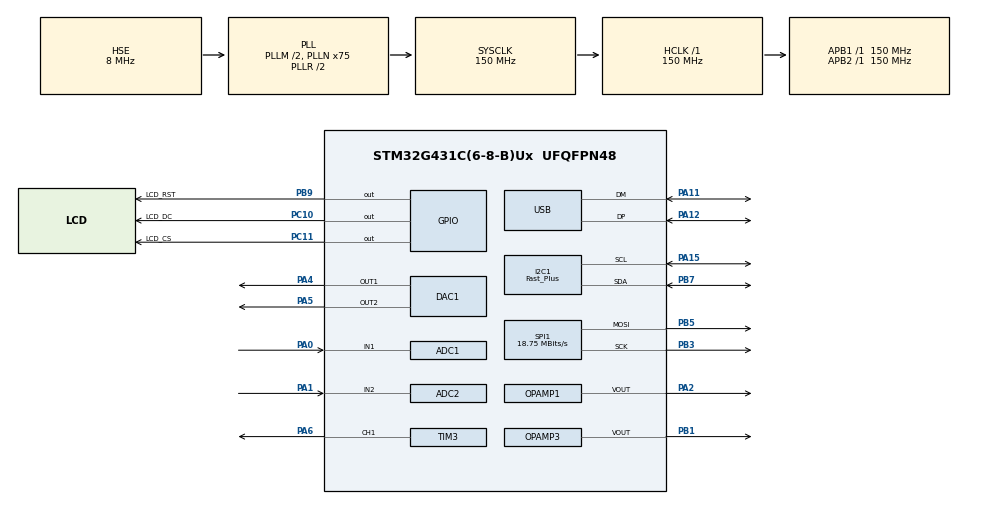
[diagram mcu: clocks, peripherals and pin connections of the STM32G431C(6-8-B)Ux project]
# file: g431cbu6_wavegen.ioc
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ADC1.Channel-0\#ChannelRegularConversion=ADC_CHANNEL_1
ADC1.NbrOfConversionFlag=1
ADC1.OffsetNumber-0\#ChannelRegularConversion=ADC_OFFSET_NONE
ADC1.Rank-0\#ChannelRegularConversion=1
ADC1.SamplingTime-0\#ChannelRegularConversion=ADC_SAMPLETIME_2CYCLES_5
ADC1.master=1
ADC2.Channel-0\#ChannelRegularConversion=ADC_CHANNEL_2
ADC2.NbrOfConversionFlag=1
ADC2.OffsetNumber-0\#ChannelRegularConversion=ADC_OFFSET_NONE
ADC2.Rank-0\#ChannelRegularConversion=1
ADC2.SamplingTime-0\#ChannelRegularConversion=ADC_SAMPLETIME_2CYCLES_5
DAC1.DAC_Channel-DAC_OUT2=DAC_CHANNEL_2
DAC3.DAC_Channel-DAC_OUT2_Int=DAC_CHANNEL_2
DAC3.DAC_Trigger_OUT1-DAC_OUT1_Int=DAC_TRIGGER_T6_TRGO
DAC3.DAC_Trigger_OUT2-DAC_OUT2_Int=DAC_TRIGGER_T7_TRGO
Dma.DAC3_CH1.0.Direction=DMA_MEMORY_TO_PERIPH
Dma.DAC3_CH1.0.EventEnable=DISABLE
Dma.DAC3_CH1.0.Instance=DMA1_Channel1
Dma.DAC3_CH1.0.MemDataAlignment=DMA_MDATAALIGN_HALFWORD
Dma.DAC3_CH1.0.MemInc=DMA_MINC_ENABLE
Dma.DAC3_CH1.0.Mode=DMA_CIRCULAR
Dma.DAC3_CH1.0.PeriphDataAlignment=DMA_PDATAALIGN_WORD
Dma.DAC3_CH1.0.PeriphInc=DMA_PINC_DISABLE
Dma.DAC3_CH1.0.Polarity=HAL_DMAMUX_REQ_GEN_RISING
Dma.DAC3_CH1.0.Priority=DMA_PRIORITY_LOW
Dma.DAC3_CH1.0.RequestNumber=1
Dma.DAC3_CH1.0.SignalID=NONE
Dma.DAC3_CH1.0.SyncEnable=DISABLE
Dma.DAC3_CH1.0.SyncPolarity=HAL_DMAMUX_SYNC_NO_EVENT
Dma.DAC3_CH1.0.SyncRequestNumber=1
Dma.DAC3_CH1.0.SyncSignalID=NONE
Dma.DAC3_CH2.1.Direction=DMA_MEMORY_TO_PERIPH
Dma.DAC3_CH2.1.EventEnable=DISABLE
Dma.DAC3_CH2.1.Instance=DMA1_Channel2
Dma.DAC3_CH2.1.MemDataAlignment=DMA_MDATAALIGN_HALFWORD
Dma.DAC3_CH2.1.MemInc=DMA_MINC_ENABLE
Dma.DAC3_CH2.1.Mode=DMA_CIRCULAR
Dma.DAC3_CH2.1.PeriphDataAlignment=DMA_PDATAALIGN_WORD
Dma.DAC3_CH2.1.PeriphInc=DMA_PINC_DISABLE
Dma.DAC3_CH2.1.Polarity=HAL_DMAMUX_REQ_GEN_RISING
Dma.DAC3_CH2.1.Priority=DMA_PRIORITY_LOW
Dma.DAC3_CH2.1.RequestNumber=1
Dma.DAC3_CH2.1.SignalID=NONE
Dma.DAC3_CH2.1.SyncEnable=DISABLE
Dma.DAC3_CH2.1.SyncPolarity=HAL_DMAMUX_SYNC_NO_EVENT
Dma.DAC3_CH2.1.SyncRequestNumber=1
Dma.DAC3_CH2.1.SyncSignalID=NONE
Dma.Request0=DAC3_CH1
Dma.Request1=DAC3_CH2
Dma.Request2=SPI1_TX
Dma.SPI1_TX.2.Direction=DMA_MEMORY_TO_PERIPH
Dma.SPI1_TX.2.EventEnable=DISABLE
Dma.SPI1_TX.2.Instance=DMA1_Channel3
Dma.SPI1_TX.2.MemDataAlignment=DMA_MDATAALIGN_BYTE
Dma.SPI1_TX.2.MemInc=DMA_MINC_ENABLE
Dma.SPI1_TX.2.Mode=DMA_NORMAL
Dma.SPI1_TX.2.PeriphDataAlignment=DMA_PDATAALIGN_BYTE
Dma.SPI1_TX.2.PeriphInc=DMA_PINC_DISABLE
Dma.SPI1_TX.2.Polarity=HAL_DMAMUX_REQ_GEN_RISING
Dma.SPI1_TX.2.Priority=DMA_PRIORITY_LOW
Dma.SPI1_TX.2.RequestNumber=1
Dma.SPI1_TX.2.SignalID=NONE
Dma.SPI1_TX.2.SyncEnable=DISABLE
Dma.SPI1_TX.2.SyncPolarity=HAL_DMAMUX_SYNC_NO_EVENT
Dma.SPI1_TX.2.SyncRequestNumber=1
Dma.SPI1_TX.2.SyncSignalID=NONE
I2C1.I2C_Speed_Mode=I2C_Fast_Plus
I2C1.Timing=0x10B30E23
Mcu.Family=STM32G4
Mcu.Name=STM32G431C(6-8-B)Ux
Mcu.Package=UFQFPN48
NVIC.DMA1_Channel1_IRQn=true\:0\:0\:false\:false\:true\:false\:true\:true
NVIC.DMA1_Channel2_IRQn=true\:0\:0\:false\:false\:true\:false\:true\:true
NVIC.DMA1_Channel3_IRQn=true\:0\:0\:false\:false\:true\:false\:true\:true
NVIC.PriorityGroup=NVIC_PRIORITYGROUP_4
NVIC.USB_LP_IRQn=true\:0\:0\:false\:false\:true\:false\:true\:true
OPAMP1.PowerMode=OPAMP_POWERMODE_HIGHSPEED
OPAMP3.PowerMode=OPAMP_POWERMODE_HIGHSPEED
PA0.Mode=IN1-Single-Ended
PA0.Signal=ADC1_IN1
PA1.Mode=IN2-Single-Ended
PA1.Signal=ADC2_IN2
PA11.Mode=Device
PA11.Signal=USB_DM
PA12.Mode=Device
PA12.Signal=USB_DP
PA13.Mode=Serial_Wire
PA13.Signal=SYS_JTMS-SWDIO
PA14.Mode=Serial_Wire
PA14.Signal=SYS_JTCK-SWCLK
PA15.GPIO_Pu=GPIO_PULLUP
PA15.GPIO_Speed=GPIO_SPEED_FREQ_VERY_HIGH
PA15.Mode=I2C
PA15.Signal=I2C1_SCL
PA2.Mode=Follower-DAC_OUT2-INP
PA2.Signal=OPAMP1_VOUT
PA4.Signal=COMP_DAC11_group
PA5.Signal=COMP_DAC12_group
PA6.GPIO_Speed=GPIO_SPEED_FREQ_VERY_HIGH
PA6.Signal=S_TIM3_CH1
PB1.Mode=Follower-DAC_OUT2-INP
PB1.Signal=OPAMP3_VOUT
PB3.GPIO_PuPd=GPIO_PULLUP
PB3.GPIO_Speed=GPIO_SPEED_FREQ_VERY_HIGH
PB3.Mode=TX_Only_Simplex_Unidirect_Master
PB3.Signal=SPI1_SCK
PB5.GPIO_PuPd=GPIO_PULLUP
PB5.GPIO_Speed=GPIO_SPEED_FREQ_VERY_HIGH
PB5.Mode=TX_Only_Simplex_Unidirect_Master
PB5.Signal=SPI1_MOSI
PB7.GPIO_Pu=GPIO_PULLUP
PB7.GPIO_Speed=GPIO_SPEED_FREQ_VERY_HIGH
PB7.Mode=I2C
PB7.Signal=I2C1_SDA
PB9.GPIO_FM9=SYSCFG_FASTMODEPLUS_PB9
PB9.GPIO_Label=LCD_RST
PB9.GPIO_PuPd=GPIO_PULLUP
PB9.GPIO_Speed=GPIO_SPEED_FREQ_VERY_HIGH
PB9.Signal=GPIO_Output
PC10.GPIO_Label=LCD_DC
PC10.GPIO_PuPd=GPIO_PULLUP
PC10.GPIO_Speed=GPIO_SPEED_FREQ_VERY_HIGH
PC10.Signal=GPIO_Output
PC11.GPIO_Label=LCD_CS
PC11.GPIO_PuPd=GPIO_PULLUP
PC11.GPIO_Speed=GPIO_SPEED_FREQ_VERY_HIGH
PC11.Signal=GPIO_Output
PF0-OSC_IN.Mode=HSE-External-Oscillator
PF0-OSC_IN.Signal=RCC_OSC_IN
PF1-OSC_OUT.Mode=HSE-External-Oscillator
PF1-OSC_OUT.Signal=RCC_OSC_OUT
ProjectManager.HeapSize=0x200
ProjectManager.StackSize=0x400
ProjectManager.TargetToolchain=CMake
RCC.ADC12Freq_Value=150000000
RCC.AHBFreq_Value=150000000
RCC.APB1Freq_Value=150000000
RCC.APB1TimFreq_Value=150000000
RCC.APB2Freq_Value=150000000
RCC.APB2TimFreq_Value=150000000
RCC.CK48CLockSelection=RCC_USBCLKSOURCE_HSI48
RCC.CortexFreq_Value=150000000
RCC.EXTERNAL_CLOCK_VALUE=12288000
RCC.HCLKFreq_Value=150000000
RCC.HSE_VALUE=8000000
RCC.HSI48_VALUE=48000000
RCC.HSI_VALUE=16000000
RCC.LSE_VALUE=32768
RCC.PLLM=RCC_PLLM_DIV2
RCC.PLLN=75
RCC.PLLQ=RCC_PLLQ_DIV6
RCC.PLLSourceVirtual=RCC_PLLSOURCE_HSE
RCC.SYSCLKFreq_VALUE=150000000
RCC.SYSCLKSource=RCC_SYSCLKSOURCE_PLLCLK
RCC.USBFreq_Value=48000000
RCC.VCOOutputFreq_Value=300000000
SH.COMP_DAC11_group.0=DAC1_OUT1,DAC_OUT1
SH.COMP_DAC12_group.0=DAC1_OUT2,DAC_OUT2
SH.S_TIM3_CH1.0=TIM3_CH1,PWM Generation1 CH1
SPI1.BaudRatePrescaler=SPI_BAUDRATEPRESCALER_8
SPI1.CalculateBaudRate=18.75 MBits/s
SPI1.DataSize=SPI_DATASIZE_8BIT
SPI1.Direction=SPI_DIRECTION_2LINES
SPI1.Mode=SPI_MODE_MASTER
SPI1.VirtualType=VM_MASTER
TIM3.Channel-PWM\ Generation1\ CH1=TIM_CHANNEL_1
TIM3.PeriodNoDither=period3
TIM3.Prescaler=prescaler3
TIM3.PulseNoDither_1=pulse3
TIM6.PeriodNoDither=period6
TIM6.Prescaler=prescaler6
TIM6.TIM_MasterOutputTrigger=TIM_TRGO_UPDATE
TIM7.PeriodNoDither=period7
TIM7.Prescaler=prescaler7
TIM7.TIM_MasterOutputTrigger=TIM_TRGO_UPDATE
USB_DEVICE.CLASS_NAME_FS=CDC
USB_DEVICE.VirtualMode=Cdc
USB_DEVICE.VirtualModeFS=Cdc_FS
VP_DAC3_VS_DACI1.Mode=DAC_OUT1_Int
VP_DAC3_VS_DACI2.Mode=DAC_OUT2_Int
VP_SYS_VS_DBSignals.Mode=DisableDeadBatterySignals
VP_TIM3_VS_ClockSourceINT.Mode=Internal
VP_TIM6_VS_ClockSourceINT.Mode=Enable_Timer
VP_TIM7_VS_ClockSourceINT.Mode=Enable_Timer
VP_USB_DEVICE_VS_USB_DEVICE_CDC_FS.Mode=CDC_FS
board=custom

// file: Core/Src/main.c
/* USER CODE BEGIN Header */
/**
  ******************************************************************************
  * @file           : main.c
  * @brief          : Main program body
  ******************************************************************************
  * @attention
  *
  * Copyright (c) 2026 STMicroelectronics.
  * All rights reserved.
  *
  * This software is licensed under terms that can be found in the LICENSE file
  * in the root directory of this software component.
  * If no LICENSE file comes with this software, it is provided AS-IS.
  *
  ******************************************************************************
  *
  * Copyright 2026 Ashok Singhal
  *
  * Create a DDS (Direct Digital Synthesis) system to generate waves on the 2
  * channels of a high speed DAC (DAC3) of an STM32G431CBU6 using circular DMA
  * from waveform data in memory driven by timers (6 and 7).
  * DAC3 is not connected directly to an output pin so both channels are
  * connected to OPAMPs in follower mode.
  * DAC3.channel1 -> OPAMP1 -> output pin PA2
  * DAC3.channel2 -> OPAMP3 -> output pin PB1
  *
  * Also create a programmable pulse generator using PWM using  timer TIM3
  * TIM3.pwm -> output pin PA6
  *
  * Use a ST7789-based LCD display on SPI1 to display the control information.
  * I adapt driver for this from https://github.com/Floyd-Fish/ST7789-STM32/tree/master/ST7789
  *
  * Use a seesaw device (derived from Adafruit's design) with 2 rotary encoders
  * with built-in switches and 4 pushbutton switches on I2C1 for the control input.
  *
  * The amplitudes of wave0 and wave1 are determined by MCP54HVX1 digital potentiometer
  * feedback resistor for the output opamp.
  * The offsets of wave0 and wave1 are determined by lower speed DAC1 outputs on
  * channels 1 and 2.
  *
  * The user interface:
  * ENC2: adjust frequency/wave type/amplitude/offset for the current wave
  * ENCSW2: select mode for the enc2
  * SW4: (currently unused)
  * SW3: Select the current wave (curwave)
  *
  * ENC1: adjust frequency and duty cycle for PWM
  * SW2: Set PWM changes XXX Currently unused
  * SW1: (currently unused)
  */
/* USER CODE END Header */
#include "main.h"
#include "adc.h"
#include "dac.h"
#include "dma.h"
#include "i2c.h"
#include "opamp.h"
#include "spi.h"
#include "tim.h"
#include "usb_device.h"
#include "gpio.h"

/* USER CODE BEGIN Includes */
#include <stdint.h>
#include <stdlib.h>
#include <stdarg.h>
#include <string.h>
#include <stdio.h>
#include <math.h>
#include <limits.h>
#include "gwave.h"
#include "st7789.h"
#include "seesaw.h"
#include "mcp45hvx1.h"
#include "usbd_cdc_if.h"
/* USER CODE END Includes */

/* USER CODE BEGIN PD */
#define SS_ENCSW1 13
#define SS_ENCSW2 16
#define SS_SW1 5
#define SS_SW2 4
#define SS_SW3 3
#define SS_SW4 0

#define MIN_PERIOD 5
#define MAX_PERIOD 65535
#define MAX_SAMPLES 500
#define MIN_SAMPLES 10
/* USER CODE END PD */

/* USER CODE BEGIN PV */

// DAC channels, used for DAC3 (wave output) as well as DAC1 (offsets)
uint32_t dac_chan[2] = {DAC_CHANNEL_1, DAC_CHANNEL_2};

// Timer 3, 6, 7 timing parameters
TIM_HandleTypeDef *htim[2] = {&htim6, &htim7}; // timers for the two channels

uint16_t prescaler3 = 1-1; // 150 Mhz from 150 Mhz clock
uint16_t period3 = 150-1; // 1 MHz from 150 MHz
uint16_t pulse3 = 75-1; // 50% duty cycle (75/150)

// prescaler6, prescaler7 are set to 1 (2-1) to give 75MHz from 150MHz
uint16_t prescaler6 = 2-1;
uint16_t prescaler7 = 2-1;

// If MIN_PERIOD is 4 (5-1) maximum sample clock is 75MHz/5 = 15MHz
// I have found that we get a lot of jitter at 15MHz sample clock, even though the
// spec says that 15MHz should be possible, so instead I use MIN_PERIOD of 5 (6-1)
// so the fastest sample clock is 75MHz/6 = 12.5MHz

// Set initial values of the period
uint16_t period6 = 14; // (15 - 1) 5 MHz from 75 MHz (10KHz with 500 samples)
uint16_t period7 = 74; // (75 - 1) 1 MHz from 75 MHz (2Khz with 500 samples)

seesaw_t ss;
// list of seesaw switch pins
uint8_t sswpins[6] = {SS_SW1, SS_SW2, SS_SW3, SS_SW4, SS_ENCSW1, SS_ENCSW2};
// previous values for seesaw switches
int sswprevs[6];

mcp45hvx1_t dpots[2];

// encsw2Mode determines what the encoder changes (f = freq, a = amplitude, t = offset)
// 0: shape
// 1: freq
// 2: ampl
// 3: offs

unsigned int encsw2Mode = 0;

// encsw1Mode determines what the encoder changes
// 0: pulse period (freq)
// 1: pulse width (duty)

unsigned int encsw1Mode = 0;

uint16_t wave[2][MAX_SAMPLES];
uint16_t woffset[2] = {2047, 2047};
uint16_t wampl[2] = {127, 127};
float wampV[2]; // amplitude in volts
float woffV[2]; // offset in volts

int num_samples[2] = {MAX_SAMPLES, MAX_SAMPLES};
// actual number of samples can be smaller than MAX_SAMPLES
// When num_sample[i] is less than 1/2 MAX_SAMPLES, we duplicate
// the wave num_waves[i] times so that each DMA cycle can run for longer
// and we get fewer interrupts.
// num_waves[i] * num_samples[i] must be <= MAX_SAMPLES
int num_waves[2] = {1, 1};
// wtype0,1 sets the type of waveform in wave[0], wave[1]
// 0 = sin, 1 = rampup, 2 = rampdown, 3 = triangle, 4 = sinc
// sw2 cycles through these waveform types
char wnames[5][6] = {
		"sine", "rampu", "rampd", "trian", "sinc"
};
uint8_t wtype[2] = {0, 3};
uint8_t curwave = 0; // 0, 1 = wave0, wave1
uint32_t prescalerHz[2];  // frequency after prescaler
uint32_t sampleHz[2]; // sampling Frequency (after period)
float waveHz[2];
float pwmhz; // pwm hz
float pwmdpct; // and duty cycle %

// USB virtual com port receive buffer
uint8_t usb_rec_buf[64];
uint8_t usb_rec_len;

/* USER CODE END PV */

void SystemClock_Config(void);

/* USER CODE BEGIN 0 */

// saturating uint16_t addition
uint16_t sat_add16(uint16_t a, uint16_t b) {
  uint16_t result = a + b;
  return result < a ? UINT16_MAX : result;
}

void USB_Printf(const char* fmt, ...) {
    char buf[128];
    va_list args;
    va_start(args, fmt);
    vsnprintf(buf, sizeof(buf), fmt, args);
    CDC_Transmit_FS((uint8_t *) buf, strlen(buf));
    va_end(args);
}

// Return the amplitude in volts
// Rpot = 10K * (255 - potv) / 255
// Gain = Rpot / 1.5K
//      = 10 * (255 - potv) / (255 * 1.5)
//      = 0.026144 * (255 - potv)
// Amplitude = Gain * 3.175V  = 0.085 * (255 - potv)
// And we add 0.3 because of minimum Rpot determined empirically

float amplitude(uint16_t potv) {
	return  0.3 + 0.083 * (255 - potv);
}

// Return the offset in volts
// Gain = 0.026144 * (255 - potv)
// Offset = 3.2 * dacv/4095 * Gain = 3.2 * 0.026144 * (255 -potv) * dacv/4095
//  = 0.083 * (255 -potv) * davc/4095
float offset(uint16_t dacv, uint16_t potv) {
	return 0.083 * (255 - potv) * dacv/4095.0;
}

// Display is 240x280 means a line can be 21 chars wide
// 0:  Wavegen
// 1: wave0 	wave1
// 2: freq0  	freq1 	>
// 3: shape0  	shape1
// 4: ampl0	ampl1  	   enc1b>
// 5: off0		off1
// 6:				   waven>
// 7:  Pulsegen
// 8: Pp	period3    set>
// 9: pwmhz		duty  enc2b>
//
void Display() {
	char buf[32];
	// choose background color based on curwave and modes
	uint16_t fcol = WHITE, fcol_changed = YELLOW, bcol = BLACK, bcol_cur = GRAY;
	uint8_t row = 0, ysp = 20, xsp = 12;

	// row 0 Needs to start at X offset due to rounded edge
	ST7789_WriteString(0, row*ysp, "       Wavegen       ", Font_11x18, YELLOW, BLUE);

	// row 1
	row++;
	ST7789_WriteString(2*xsp, row * ysp, " Wave0", Font_11x18, fcol,
			(curwave == 0)? bcol_cur: bcol);
	ST7789_WriteString(8*xsp, row * ysp, " Wave1", Font_11x18, fcol,
			(curwave == 1)? bcol_cur: bcol);

	// row 2: Wave frequencies and Set> button (S4).  Needs to start at X offset due to rounded edge
	row++;
	ST7789_WriteString(0, row * ysp, "Hz", Font_11x18, YELLOW, BLUE);
	sprintf(buf, "%7d", (int) (waveHz[0]));
	ST7789_WriteString(2*xsp, row * ysp, buf, Font_11x18, fcol,
			(encsw2Mode > 0 && encsw2Mode < 6 && curwave == 0)? bcol_cur: bcol);
	sprintf(buf, "%7d", (int) (waveHz[1]));
	ST7789_WriteString(9*xsp, row * ysp, buf, Font_11x18, fcol,
			(encsw2Mode > 0 && encsw2Mode < 6 && curwave == 1)? bcol_cur: bcol);
	ST7789_WriteString(16*xsp, row * ysp, "    ", Font_11x18, BLUE, WHITE);

	// row 3: Wave types and current encoder 1 mode
	row++;
	ST7789_WriteString(0, row * ysp, "Sh", Font_11x18, YELLOW, BLUE);
	sprintf(buf, "%5s", wnames[wtype[0]]);
	ST7789_WriteString(2*xsp, row * ysp, buf, Font_11x18, fcol,
			(encsw2Mode == 0 && curwave == 0)? bcol_cur: bcol);
	sprintf(buf, "%5s", wnames[wtype[1]]);
	ST7789_WriteString(9*xsp, row * ysp, buf, Font_11x18, fcol,
			(encsw2Mode == 0 && curwave == 1)? bcol_cur: bcol);

	// row 4: Wave amplitudes and wave select button (S3)
	row++;
	ST7789_WriteString(0, row * ysp, "Am", Font_11x18, YELLOW, BLUE);
	sprintf(buf, "%7.3f", wampV[0]);
	ST7789_WriteString(2*xsp, row * ysp, buf, Font_11x18, fcol,
			(encsw2Mode == 2 && curwave == 0)? bcol_cur: bcol);
	sprintf(buf, "%7.3f", wampV[1]);
	ST7789_WriteString(9*xsp, row * ysp, buf, Font_11x18, fcol,
			(encsw2Mode == 2 && curwave == 1)? bcol_cur: bcol);
	switch (encsw2Mode) {
	case 0:
		sprintf(buf, "shape");
		break;
	case 1:
		sprintf(buf, " freq");
		break;
	case 2:
		sprintf(buf, " ampl");
		break;
	case 3:
		sprintf(buf, " offs");
		break;
	default:
		sprintf(buf, "????");
		break;
	}
	ST7789_WriteString(15*xsp, row * ysp, buf, Font_11x18, BLUE, WHITE);

	// row 5: Wave offsets
	row++;
	ST7789_WriteString(0, row * ysp, "Of", Font_11x18, YELLOW, BLUE);
	sprintf(buf, "%7.3f", woffV[0]);
	ST7789_WriteString(2*xsp, row * ysp, buf, Font_11x18, fcol,
			(encsw2Mode == 3 && curwave == 0)? bcol_cur: bcol);
	sprintf(buf, "%7.3f", woffV[1]);
	ST7789_WriteString(9*xsp, row * ysp, buf, Font_11x18, fcol,
			(encsw2Mode == 3 && curwave == 1)? bcol_cur: bcol);

	// Row6
	row++;
	ST7789_WriteString(16*xsp, row * ysp, curwave ? "Wav1" : "Wav0", Font_11x18, BLUE, WHITE);

	// row7 pulse header
	row++;
	ST7789_WriteString(0, row*ysp, "       Pulsegen      ", Font_11x18, YELLOW, BLUE);

	// row 8: Pp period Set>
	row++;
	ST7789_WriteString(0, row * ysp, "Pp", Font_11x18, YELLOW, BLUE);
	sprintf(buf, "%6d", period3);
	ST7789_WriteString(2*xsp, row * ysp, buf, Font_11x18, fcol,
			(encsw1Mode == 0)? bcol_cur: bcol);
	// XXX Set unused
	ST7789_WriteString(16*xsp, row * ysp, "    ", Font_11x18, BLUE, WHITE);

	// row 9: PWM freq
	row++;
	ST7789_WriteString(0, row * ysp, "Hz", Font_11x18, YELLOW, BLUE);
	sprintf(buf, "%7.0f", pwmhz);
	ST7789_WriteString(2*xsp, row * ysp, buf, Font_11x18, fcol, bcol);

	// row 10:Pw width Encb1>
	row++;
	ST7789_WriteString(0, row * ysp, "Pw", Font_11x18, YELLOW, BLUE);
	sprintf(buf, "%6d", pulse3);
	ST7789_WriteString(2*xsp, row * ysp, buf, Font_11x18, fcol,
			(encsw1Mode == 1)? bcol_cur: bcol);
	switch (encsw1Mode) {
	case 0:
		sprintf(buf, "pper");
		break;
	case 1:
		sprintf(buf, "pwid");
		break;
	default:
		sprintf(buf, "????");
		break;
	}
	ST7789_WriteString(15*xsp, row * ysp, buf, Font_11x18, BLUE, WHITE);

	// row 11: d% duty
	row++;
	ST7789_WriteString(0, row * ysp, "D%%", Font_11x18, YELLOW, BLUE);
	sprintf(buf, "%6.1f", pwmdpct);
	ST7789_WriteString(2*xsp, row * ysp, buf, Font_11x18, fcol, bcol);

	// row 12
	row++;
	// XXX Set unused
	ST7789_WriteString(16*xsp, row * ysp, "    ", Font_11x18, BLUE, WHITE);
}

void updateClocks() {
	sampleHz[0] = prescalerHz[0] / (period6 + 1);
	sampleHz[1] = prescalerHz[1] / (period7 + 1);
	USB_Printf("Sample clocks: %u %u\r\n", sampleHz[0], sampleHz[1]);
	waveHz[0] = sampleHz[0] / num_samples[0];
	waveHz[1] = sampleHz[1] / num_samples[1];
	USB_Printf("Wave clocks: %.1f %.1f\r\n", waveHz[0], waveHz[1]);
}

// calculate pwmhz (freq) and pwmdpct (duty cycle %) from TIM3 period3 and pulse3
void updatePwm() {
	  pwmhz = SystemCoreClock/(period3 + 1); // since the prescaler is set to 1
	  pwmdpct = (pulse3 + 1) * 100.0/(period3 + 1);
	  if (pwmdpct > 100) {
		  pwmdpct = 100;
	  }
}

// Set the frequency of curwave to freq
// Should only be called for curwave = 0 or 1
int setFreq(float freq) {
  // freq = prescaleHz/((period+1)*num_samples)
  // product = (perdiod+1)*num_samples = prescaleHz/freq
  uint16_t cperiod = curwave == 0? period6: period7;
  uint16_t cnsamples = num_samples[curwave];
  uint32_t curProduct = (cperiod+ 1) * cnsamples;
  uint32_t newProduct = prescalerHz[curwave]/freq;
  int32_t delProduct = newProduct - curProduct;

  if (delProduct == 0) {
    if (freq > waveHz[curwave]) {
      delProduct = -1;
    } else if (freq < waveHz[curwave]) {
      delProduct = 1;
    }
  }

  if (delProduct > 0) {
    if (cnsamples < MAX_SAMPLES) {
      // cnsamples can be increased
      if (delProduct >= cperiod + 1) {
        // can increase cnsamples
        cnsamples += delProduct/(cperiod+1);
        if (cnsamples > MAX_SAMPLES) {
          cperiod = (newProduct/MAX_SAMPLES) - 1;
          cnsamples = MAX_SAMPLES;
        }
      } else if (delProduct >= cnsamples){
        // can increase cperiod
        sat_add16(cperiod, delProduct/cnsamples);
      } else {
        // delProduct is less than both cnsamples and cperiod+1 so
        // increase the larger of the two
        if (cnsamples > cperiod + 1) {
          cnsamples += 1;
        } else {
          cperiod += 1;
        }
      }
    } else {
      // cnsamples == MAX_SAMPLES, so increase period if possible
      if (delProduct < cnsamples) {
        cperiod += 1;
        cnsamples = newProduct / (cperiod + 1);
        if ((cperiod + 1) * cnsamples < curProduct) {
          cnsamples += 1;
        }
        if (cnsamples < MIN_SAMPLES) {
          cnsamples = MIN_SAMPLES;
        }
        if (cnsamples > MAX_SAMPLES) {
          cnsamples = MAX_SAMPLES;
        }
      } else {
       cperiod = sat_add16(cperiod, delProduct/cnsamples);
      }

    }
  } else { // delProduct < 0
    if (cperiod > MIN_PERIOD) {
      if (-delProduct < cnsamples) {
        cperiod -= 1;
        cnsamples = newProduct/(cperiod + 1);
        if ((cperiod + 1) * cnsamples > curProduct) {
          cnsamples -= 1;
        }
        if (cnsamples < MIN_SAMPLES) {
          cnsamples = MIN_SAMPLES;
        }
        if (cnsamples > MAX_SAMPLES) {
          cnsamples = MAX_SAMPLES;
        }
      } else {
        cperiod += delProduct/cnsamples;
      }
    } else {
      // cperiod == MIN_PERIOD, can only decrease cnamples
      if (cnsamples > MIN_SAMPLES) {
        if (-delProduct < cperiod + 1) {
          cnsamples -= 1;
        } else {
          cnsamples += delProduct/(cperiod + 1);
        }
        if (cnsamples < MIN_SAMPLES) {
          cnsamples = MIN_SAMPLES;
        }
      } else {
        // no change possible
        return 0;
      }
    }
  }
  // apply the changes
  num_samples[curwave] = cnsamples;
	if (num_samples[curwave] < MAX_SAMPLES/2) {
		num_waves[curwave] = MAX_SAMPLES/num_samples[curwave];
	} else {
		num_waves[curwave] = 1;
	}
	initWave(wtype[curwave], wave[curwave], num_samples[curwave], num_waves[curwave]);
	if (HAL_DAC_Stop_DMA(&hdac3, dac_chan[curwave]) != HAL_OK) {
		USB_Printf("HAL_DAC_Stop_DMA failed");
	}
	if (HAL_DAC_Start_DMA(&hdac3, dac_chan[curwave], (uint32_t *) wave[curwave],
			num_samples[curwave] * num_waves[curwave], DAC_ALIGN_12B_R) != HAL_OK) {
		USB_Printf("HAL_DAC_Start_DMA failed");
	}
	if (curwave == 1) {
		period7 = cperiod;
	} else {
		period6 = cperiod;
	}
	__HAL_TIM_SET_AUTORELOAD(htim[curwave],cperiod);
	updateClocks();
	return 1;
}

/* USER CODE END 0 */

int main(void)
{

  /* USER CODE BEGIN 1 */
	int32_t encdiff0, encdiff1;
	int redisplay = 0;
	int sswCur;
  /* USER CODE END 1 */

  /* MCU Configuration--------------------------------------------------------*/

  /* Reset of all peripherals, Initializes the Flash interface and the Systick. */
  HAL_Init();

  /* Configure the system clock */
  SystemClock_Config();

  /* Initialize all configured peripherals */
  MX_GPIO_Init();
  MX_DMA_Init();
  MX_USB_Device_Init();
  MX_I2C1_Init();
  MX_DAC3_Init();
  MX_OPAMP1_Init();
  MX_OPAMP3_Init();
  MX_SPI1_Init();
  MX_TIM6_Init();
  MX_TIM7_Init();
  MX_ADC1_Init();
  MX_ADC2_Init();
  MX_DAC1_Init();
  MX_TIM3_Init();
  /* USER CODE BEGIN 2 */

  USB_Printf("System Clock: %d\r\n", SystemCoreClock);
  prescalerHz[0] = SystemCoreClock / (prescaler6 + 1);
  prescalerHz[1] = SystemCoreClock / (prescaler7 + 1);
  USB_Printf("Prescaler clocks: %.1f %.1f\r\n", prescalerHz[0], prescalerHz[1]);

  updateClocks();
  updatePwm();

  ST7789_Init();
  ST7789_InvertColors(1);
  HAL_Delay(1);
  Display();

  USB_Printf("Scanning I2C\r\n");
  for (int i2a = 1; i2a < 127; i2a++) {
  	if (HAL_I2C_IsDeviceReady(&hi2c1, i2a << 1, 1, 10) == HAL_OK) {
  		USB_Printf("I2C device at %x\r\n", i2a);
  	}
  }
  USB_Printf("Scan I2C done\r\n");
  USB_Printf("Initializing seesaw\r\n");
  if (!seesaw_Begin(&hi2c1, 0, &ss)) {
  	USB_Printf("seesaw not found\r\n");
  }
  USB_Printf("seesaw_hw: %x\r\n", ss.hwtype);

  if (!seesaw_SWReset(&ss)) {
	  USB_Printf("SWReset failed\r\n");
  }

  HAL_Delay(1);

  // define pin modes for switch pins
  for (int swp = 0; swp < 6; swp++) {
	  if (!seesaw_pinMode(sswpins[swp], INPUT_PULLUP, &ss)) {
		  USB_Printf("seesaw_pinMode failed for %d\r\n", sswpins[swp]);
	  }
  }

  USB_Printf("Initializing dpots\r\n");
  for (int dpot = 0; dpot < 2; dpot++) {
	  if (!mcp45hvx1_Begin(&hi2c1, dpot, &dpots[dpot])) {
	 	  USB_Printf("mcp45hvx1_Begin() failed for dpot %d\r\n", dpot);
	  }
	  // Write initial value to dpot
	  mcp45hvx1_setWiper(wampl[dpot], &dpots[dpot]);
	  wampV[dpot] = amplitude(wampl[dpot]);
  }
  USB_Printf("Done initializing dpots\r\n");

  // initialize the two wave channels
  for (int wv = 0; wv < 2; wv++) {
	  initWave(wtype[wv], wave[wv], num_samples[wv], num_waves[wv]);
	  HAL_DAC_Start_DMA(&hdac3, dac_chan[wv], (uint32_t *) wave[wv], num_samples[wv], DAC_ALIGN_12B_R);
	  HAL_TIM_Base_Start(htim[wv]);
	  HAL_DAC_Start(&hdac1, dac_chan[wv]);
	  HAL_DAC_SetValue(&hdac1, dac_chan[wv], DAC_ALIGN_12B_R, woffset[wv]);
	  woffV[wv] = offset(woffset[wv], wampl[wv]);
  }
  //Avoid DMA half transfer, transfer complete interrupt trigger
  __HAL_DMA_DISABLE_IT(&hdma_dac3_ch1, DMA_IT_HT | DMA_IT_TC);
  __HAL_DMA_DISABLE_IT(&hdma_dac3_ch2, DMA_IT_HT | DMA_IT_TC);

  if (HAL_OPAMP_Start(&hopamp1)) {
	  USB_Printf("HAL_OPAMP_Start failed\r\n");
  }
  if (HAL_OPAMP_Start(&hopamp3)) {
  	  USB_Printf("HAL_OPAMP_Start failed\r\n");
  }
  HAL_TIM_PWM_Start(&htim3, TIM_CHANNEL_1);
  Display();
  /* USER CODE END 2 */

  /* Infinite loop */
  /* USER CODE BEGIN WHILE */
  while (1)
  {
    redisplay = 0;
	  // process the 6 seesaw switches
	  for (uint8_t swp = 0; swp < 6; swp++) {
		  sswCur = seesaw_digitalRead(sswpins[swp], &ss);
		  if (sswCur != sswprevs[swp]) {
			  if (!sswCur) {
				  switch (sswpins[swp]) {
				  case SS_ENCSW2:
					  encsw2Mode = (encsw2Mode + 1) % 4;
					  redisplay = 1;
					  break;
				  case SS_SW4:
					  // XXX not used
					  break;
				  case SS_SW3:
					  curwave = 1 - curwave;
					  redisplay = 1;
					  break;
				  case SS_SW2:
					  // XXX Unused
					  break;
				  case SS_ENCSW1:
					  encsw1Mode = (encsw1Mode + 1) % 2;
					  redisplay = 1;
					  break;
				  case SS_SW1:
					  // XXX not used
					  break;
				  }
			  }
			  sswprevs[swp] = sswCur;
		  }
	  }

	  // encoder1 adjusts wavetype/frequency/amplitude/offset for curwave
	  encdiff1 = seesaw_getEncoderDelta(&ss, 1);
	  if (encdiff1 != 0) {
       USB_Printf("encdiff1: %d\r\n", encdiff1);
		  switch (encsw2Mode) {
		  case 0:
			  wtype[curwave] = (wtype[curwave] + encdiff1) % 5;
			  if (wtype[curwave] >= 5) wtype[curwave] = 4; // Seems to be a bug when encdiff1 is negative
			  initWave(wtype[curwave], wave[curwave], num_samples[curwave], num_waves[curwave]);
			  break;
		  case 1:
			  if ((abs(encdiff1) > 2) && (abs(encdiff1) < 4)) {
				  encdiff1 *= 4;
			  } else if ((abs(encdiff1) >= 4) && (abs(encdiff1) < 7)) {
				  encdiff1 *= 32;
        } else if (abs(encdiff1) >= 7) {
				  encdiff1 *= 1024;
			  }
			  // waveHz[curwave] = waveHz[curwave] + encdiff1;
        // XXX Assuming mininum freq of 1
        if (waveHz[curwave] + encdiff1 < 1) {
          setFreq(1);
        } else {
          setFreq(waveHz[curwave] + encdiff1);
        }
			  break;
		  case 2:
			  // Want the resistance (gain) to increase so we subtract
			  // instead of adding
			  if ((wampl[curwave] - encdiff1) > 255) {
				  wampl[curwave] = 255;
			  } else if (encdiff1 > wampl[curwave]) {
				  wampl[curwave] = 0;
			  } else {
				  wampl[curwave] = wampl[curwave] - encdiff1;
			  }
			  mcp45hvx1_setWiper(wampl[curwave], &dpots[curwave]);
			  wampV[curwave] = amplitude(wampl[curwave]);
			  woffV[curwave] = offset(woffset[curwave], wampl[curwave]);
			  break;
		  case 3:
			  if (abs(encdiff1) == 2) {
				  encdiff1 *= 10;
			  } else if (abs(encdiff1) > 2) {
				  encdiff1 *= 100;
			  }
			  if (encdiff1 > 0) {
				  woffset[curwave] = woffset[curwave] + encdiff1;
				  if (woffset[curwave] >= 4096) woffset[curwave] = 4095;
			  } else {
				  if (abs(encdiff1) > woffset[curwave]) {
					  woffset[curwave] = 0;
				  } else {
					  woffset[curwave] = woffset[curwave] + encdiff1;
				  }
			  }

			  HAL_DAC_SetValue(&hdac1, dac_chan[curwave], DAC_ALIGN_12B_R, woffset[curwave]);
			  woffV[curwave] = offset(woffset[curwave], wampl[curwave]);
			  break;
		  }
		  redisplay = 1;
	  }

	  // encoder0 adjusts frequency/duty for pulse gen
	  encdiff0 = seesaw_getEncoderDelta(&ss, 0);
	  if (encdiff0 != 0) {
		  USB_Printf("encdiff0: %d\r\n", encdiff0);
		  if (abs(encdiff0) == 2) {
			  encdiff0 *= 4;
		  } else if (abs(encdiff0) == 3) {
			  encdiff0 *= 16;
		  } else if (abs(encdiff0) > 3) {
			  encdiff0 *= 64;
		  }
		  switch (encsw1Mode) {
		  case 0:
			  // change period3
			  if (encdiff0 > 0) {
				  if (MAX_PERIOD - period3 <= encdiff0) {
					  period3 = MAX_PERIOD;
				  } else {
					  period3 += encdiff0;
				  }
			  } else {
				  // encdiff0 is -ve
				  if (period3 - MIN_PERIOD <= -encdiff0) {
					  period3 = MIN_PERIOD;
				  } else {
					  period3 += encdiff0;
				  }
			  }
			  __HAL_TIM_SET_AUTORELOAD(&htim3, period3);
			  if (pulse3 >= period3) {
				  pulse3 = period3 - 1;
				  __HAL_TIM_SET_COMPARE(&htim3, TIM_CHANNEL_1, pulse3);
			  }
			  break;
		  case 1:
			  // change pulse3
			  if (encdiff0 > 0) {
				  if (period3 - pulse3 <= encdiff0) {
					  pulse3 = period3 - 1;
				  } else {
					  pulse3 += encdiff0;
				  }
			  } else {
				  // encdiff1 -ve
				  if (-encdiff0 >= pulse3) {
					  pulse3 = 1;
				  } else {
					  pulse3 += encdiff0;
				  }
			  }
			  __HAL_TIM_SET_COMPARE(&htim3, TIM_CHANNEL_1, pulse3);
			  break;
		  }
		  updatePwm();
		  redisplay = 1;
	  }
	  if (redisplay) {
		  Display();
	  }
    /* USER CODE END WHILE */

  }
}

void SystemClock_Config(void)
{
  RCC_OscInitTypeDef RCC_OscInitStruct = {0};
  RCC_ClkInitTypeDef RCC_ClkInitStruct = {0};

  /** Configure the main internal regulator output voltage
  */
  HAL_PWREx_ControlVoltageScaling(PWR_REGULATOR_VOLTAGE_SCALE1);

  /** Initializes the RCC Oscillators according to the specified parameters
  * in the RCC_OscInitTypeDef structure.
  */
  RCC_OscInitStruct.OscillatorType = RCC_OSCILLATORTYPE_HSI48|RCC_OSCILLATORTYPE_HSE;
  RCC_OscInitStruct.HSEState = RCC_HSE_ON;
  RCC_OscInitStruct.HSI48State = RCC_HSI48_ON;
  RCC_OscInitStruct.PLL.PLLState = RCC_PLL_ON;
  RCC_OscInitStruct.PLL.PLLSource = RCC_PLLSOURCE_HSE;
  RCC_OscInitStruct.PLL.PLLM = RCC_PLLM_DIV2;
  RCC_OscInitStruct.PLL.PLLN = 75;
  RCC_OscInitStruct.PLL.PLLP = RCC_PLLP_DIV2;
  RCC_OscInitStruct.PLL.PLLQ = RCC_PLLQ_DIV6;
  RCC_OscInitStruct.PLL.PLLR = RCC_PLLR_DIV2;
  if (HAL_RCC_OscConfig(&RCC_OscInitStruct) != HAL_OK)
  {
    Error_Handler();
  }

  /** Initializes the CPU, AHB and APB buses clocks
  */
  RCC_ClkInitStruct.ClockType = RCC_CLOCKTYPE_HCLK|RCC_CLOCKTYPE_SYSCLK
                              |RCC_CLOCKTYPE_PCLK1|RCC_CLOCKTYPE_PCLK2;
  RCC_ClkInitStruct.SYSCLKSource = RCC_SYSCLKSOURCE_PLLCLK;
  RCC_ClkInitStruct.AHBCLKDivider = RCC_SYSCLK_DIV1;
  RCC_ClkInitStruct.APB1CLKDivider = RCC_HCLK_DIV1;
  RCC_ClkInitStruct.APB2CLKDivider = RCC_HCLK_DIV1;

  if (HAL_RCC_ClockConfig(&RCC_ClkInitStruct, FLASH_LATENCY_4) != HAL_OK)
  {
    Error_Handler();
  }
}

void Error_Handler(void)
{
  __disable_irq();
  while (1)
  {
  }
}
